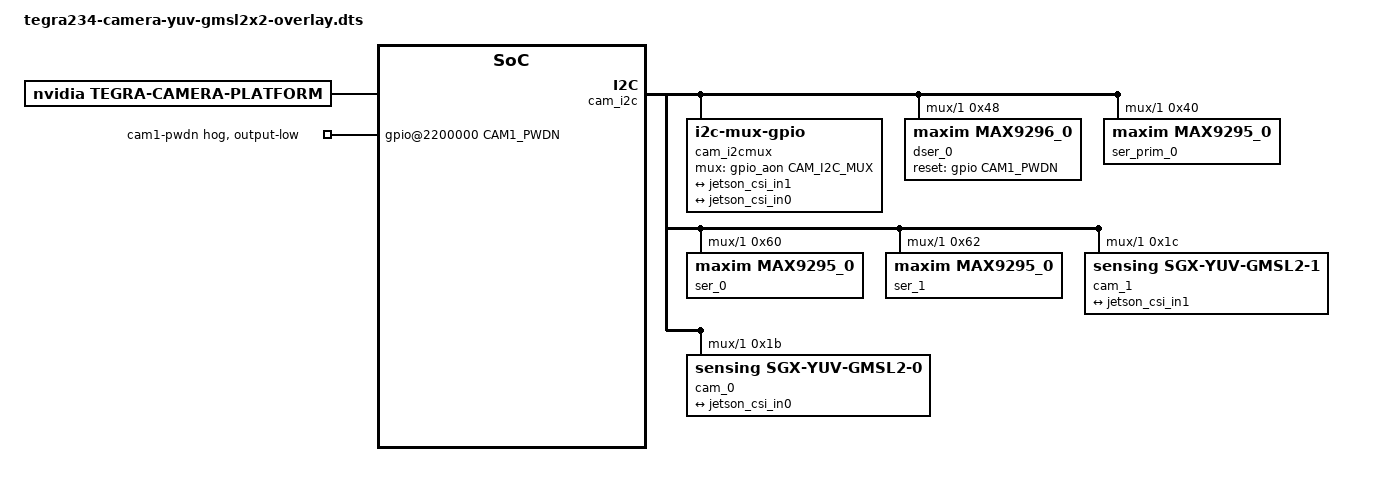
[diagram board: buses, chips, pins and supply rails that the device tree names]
// SPDX-License-Identifier: GPL-2.0-only
// SPDX-FileCopyrightText: Copyright (c) 2023, NVIDIA CORPORATION & AFFILIATES. All rights reserved.

/dts-v1/;
/plugin/;

#include <dt-bindings/tegra234-p3767-0000-common.h>
#include <dt-bindings/clock/tegra234-clock.h>


// #define CAM0_PWDN		TEGRA234_MAIN_GPIO(H, 6)
#define CAM1_PWDN		TEGRA234_MAIN_GPIO(AC, 0)
#define CAM_I2C_MUX		TEGRA234_AON_GPIO(CC, 3)

/* camera control gpio definitions */
/ {
	overlay-name = "Sensing camera YUV GMSL2X2";
	jetson-header-name = "Jetson 24pin CSI Connector";
	compatible = JETSON_COMPATIBLE_P3768;

	fragment@0 {
		target-path = "/";
		__overlay__ {
			tegra-capture-vi  {
				num-channels = <2>;
				ports {
					#address-cells = <1>;
					#size-cells = <0>;
					port@0 {
						reg = <0>;
						jetson_vi_in0: endpoint {
							vc-id = <0>;
							port-index = <2>;
							bus-width = <4>;
							remote-endpoint = <&jetson_csi_out0>;
						};
					};
					port@1 {
						reg = <1>;
						jetson_vi_in1: endpoint {
							vc-id = <1>;
							port-index = <2>;
							bus-width = <4>;
							remote-endpoint = <&jetson_csi_out1>;
						};
					};
				};
			};

			tegra-camera-platform {
				compatible = "nvidia, tegra-camera-platform";

				/**
				* Physical settings to calculate max ISO BW
				*
				* num_csi_lanes = <>;
				* Total number of CSI lanes when all cameras are active
				*
				* max_lane_speed = <>;
				* Max lane speed in Kbit/s
				*
				* min_bits_per_pixel = <>;
				* Min bits per pixel
				*
				* vi_peak_byte_per_pixel = <>;
				* Max byte per pixel for the VI ISO case
				*
				* vi_bw_margin_pct = <>;
				* Vi bandwidth margin in percentage
				*
				* max_pixel_rate = <>;
				* Max pixel rate in Kpixel/s for the ISP ISO case
				*
				* isp_peak_byte_per_pixel = <>;
				* Max byte per pixel for the ISP ISO case
				*
				* isp_bw_margin_pct = <>;
				* Isp bandwidth margin in percentage
				*/
				num_csi_lanes = <8>;
				max_lane_speed = <2500000>;
				min_bits_per_pixel = <10>;
				vi_peak_byte_per_pixel = <2>;
				vi_bw_margin_pct = <25>;
				max_pixel_rate = <7500000>;
				isp_peak_byte_per_pixel = <5>;
				isp_bw_margin_pct = <25>;

				/**
				* The general guideline for naming badge_info contains 3 parts, and is as follows,
				* The first part is the camera_board_id for the module; if the module is in a FFD
				* platform, then use the platform name for this part.
				* The second part contains the position of the module, ex. "rear" or "front".
				* The third part contains the last 6 characters of a part number which is found
				* in the module's specsheet from the vendor.
				*/
				modules {
					module0 {
						badge = "cam0_position";
						position = "position";
						orientation = "1";
						drivernode0 {
							pcl_id = "v4l2_sensor";
							devname = "sgx-yuv-gmsl2 9-001b";
							proc-device-tree = "/proc/device-tree/cam_i2cmux/i2c@0/cam_0@1b";
						};
					};
					module1 {
						badge = "cam1_position";
						position = "position";
						orientation = "1";
						drivernode0 {
							pcl_id = "v4l2_sensor";
							devname = "sgx-yuv-gmsl2 9-001c";
							proc-device-tree = "/proc/device-tree/cam_i2cmux/i2c@0/cam_1@1c";
						};
					};
				};
			};

			bus@0 {
				gpio@2200000 {
					camera-control-output-low {
						gpio-hog;
						output-low;
						gpios = <CAM1_PWDN 0>;
						label = "cam1-pwdn";
					};
				};

				host1x@13e00000 {
					nvcsi@15a00000 {
						num-channels = <2>;
						#address-cells = <1>;
						#size-cells = <0>;
						channel@0 {
							reg = <0>;
							ports {
								#address-cells = <1>;
								#size-cells = <0>;
								port@0 {
									reg = <0>;
									jetson_csi_in0: endpoint@0 {
										port-index = <2>;
										bus-width = <4>;
										remote-endpoint = <&mipi_cam_out0>;
									};
								};
								port@1 {
									reg = <1>;
									jetson_csi_out0: endpoint@1 {
										remote-endpoint = <&jetson_vi_in0>;
									};
								};
							};
						};
						channel@1 {
							reg = <1>;
							ports {
								#address-cells = <1>;
								#size-cells = <0>;
								port@0 {
									reg = <0>;
									jetson_csi_in1: endpoint@2 {
										port-index = <2>;
										bus-width = <4>;
										remote-endpoint = <&mipi_cam_out1>;
									};
								};
								port@1 {
									reg = <1>;
									jetson_csi_out1: endpoint@3 {
										remote-endpoint = <&jetson_vi_in1>;
									};
								};
							};
						};
					};
				};

				cam_i2cmux {
					compatible = "i2c-mux-gpio";
					#address-cells = <1>;
					#size-cells = <0>;
					mux-gpios = <&gpio_aon CAM_I2C_MUX GPIO_ACTIVE_HIGH>;
					i2c-parent = <&cam_i2c>;

					i2c@1 {
						reg = <1>;
						#address-cells = <1>;
						#size-cells = <0>;
						dser_0: max9296_0@48 {
							compatible = "maxim,max9296_0";
							reg = <0x48>;
							csi-mode = "2x4";
							max-src = <2>;
							reset-gpios = <&gpio CAM1_PWDN GPIO_ACTIVE_HIGH>;
						};
						ser_prim_0: max9295_prim_0@40{
							compatible = "maxim,max9295_0";
							reg = <0x40>;
							is-prim-ser;
						};
						ser_0: max9295_0@60 {
							compatible = "maxim,max9295_0";
							reg = <0x60>;
							sensing,gmsl-dser-device = <&dser_0>;
						};
						ser_1: max9295_1@62 {
							compatible = "maxim,max9295_0";
							reg = <0x62>;
							sensing,gmsl-dser-device = <&dser_0>;
						};
						cam_1@1c {
							compatible = "sensing,sgx-yuv-gmsl2-1";
							reg = <0x1c>;
							def-addr = <0x10>;
							devnode = "video1";

							/* Physical dimensions of sensor */
							physical_w = "15.0";
							physical_h = "12.5";

							sensor_model ="sgx-yuv-gmsl2";

							/* Define any required hw resources needed by driver */
							/* ie. clocks, io pins, power sources */
							clocks = <&bpmp TEGRA234_CLK_EXTPERIPH1>,
									<&bpmp TEGRA234_CLK_EXTPERIPH1>;
							clock-names = "extperiph1", "pllp_grtba";
							mclk = "extperiph1";
							sensing,gmsl-ser-device = <&ser_1>;
							sensing,gmsl-dser-device = <&dser_0>;

							/* Defines number of frames to be dropped by driver internally after applying */
							/* sensor crop settings. Some sensors send corrupt frames after applying */
							/* crop co-ordinates */
							post_crop_frame_drop = "0";

							/* Convert Gain to unit of dB (decibel) befor passing to kernel driver */
							use_decibel_gain = "false";

							/* enable CID_SENSOR_MODE_ID for sensor modes selection */
							use_sensor_mode_id = "true";

							mode0 {/*mode SENSOR_MODE_1920X1080_CROP_30FPS*/
								mclk_khz = "24000";
								num_lanes = "4";
								tegra_sinterface = "serial_c";
								vc_id = "1";
								discontinuous_clk = "no";
								dpcm_enable = "false";
								cil_settletime = "0";
								dynamic_pixel_bit_depth = "16";
								csi_pixel_bit_depth = "16";
								mode_type = "yuv";
								pixel_phase = "uyvy";
								
								active_w = "1920";
								active_h = "1080";
								readout_orientation = "0";
								line_length = "2200";
								inherent_gain = "1";
								pix_clk_hz = "150000000";
								serdes_pix_clk_hz = "600000000";
								gain_factor = "1000";
								min_gain_val = "1"; /* dB */
								max_gain_val = "30000"; /* dB */
								step_gain_val = "300"; /* 0.3 */
								default_gain = "1";
								min_hdr_ratio = "1";
								max_hdr_ratio = "1";
								framerate_factor = "1000000";
								min_framerate = "30000000";
								max_framerate = "30000000";
								step_framerate = "1";
								default_framerate = "30000000";
								exposure_factor = "1000000";
								min_exp_time = "59"; /*us, 2 lines*/
								max_exp_time = "33333";
								step_exp_time = "1";
								default_exp_time = "33333";/* us */
								embedded_metadata_height = "0";
							};
							mode1 {//sg2-gmsl2-gw5xxx(1920*1536)
								mclk_khz = "24000";
								num_lanes = "4";
								tegra_sinterface = "serial_c";
								vc_id = "1";
								discontinuous_clk = "no";
								dpcm_enable = "false";
								cil_settletime = "0";
								dynamic_pixel_bit_depth = "16";
								csi_pixel_bit_depth = "16";
								mode_type = "yuv";
								pixel_phase = "uyvy";
								
								active_w = "1920";
								active_h = "1536";
								readout_orientation = "0";
								line_length = "2200";
								inherent_gain = "1";
								pix_clk_hz = "200000000";
								serdes_pix_clk_hz = "600000000";

								gain_factor = "1000";
								min_gain_val = "1"; /* dB */
								max_gain_val = "30000"; /* dB */
								step_gain_val = "300"; /* 0.3 */
								default_gain = "1";
								min_hdr_ratio = "1";
								max_hdr_ratio = "1";
								framerate_factor = "1000000";
								min_framerate = "30000000";
								max_framerate = "30000000";
								step_framerate = "1";
								default_framerate = "30000000";
								exposure_factor = "1000000";
								min_exp_time = "59"; /*us, 2 lines*/
								max_exp_time = "33333";
								step_exp_time = "1";
								default_exp_time = "33333";/* us */
								embedded_metadata_height = "0";
							};
							mode2 {//sg2-gmsl2-gw5xxx(2880*1860)
								mclk_khz = "24000";
								num_lanes = "4";
								tegra_sinterface = "serial_c";
								vc_id = "1";
								discontinuous_clk = "no";
								dpcm_enable = "false";
								cil_settletime = "0";
								dynamic_pixel_bit_depth = "16";
								csi_pixel_bit_depth = "16";
								mode_type = "yuv";
								pixel_phase = "uyvy";
							
								active_w = "2880";
								active_h = "1860";
								readout_orientation = "0";
								line_length = "3200";
								inherent_gain = "1";
								pix_clk_hz = "300000000";
								serdes_pix_clk_hz = "600000000";

								gain_factor = "1000";
								min_gain_val = "1"; /* dB */
								max_gain_val = "30000"; /* dB */
								step_gain_val = "300"; /* 0.3 */
								default_gain = "1";
								min_hdr_ratio = "1";
								max_hdr_ratio = "1";
								framerate_factor = "1000000";
								min_framerate = "30000000";
								max_framerate = "30000000";
								step_framerate = "1";
								default_framerate = "30000000";
								exposure_factor = "1000000";
								min_exp_time = "59"; /*us, 2 lines*/
								max_exp_time = "33333";
								step_exp_time = "1";
								default_exp_time = "33333";/* us */
								embedded_metadata_height = "0";
							};
							mode3 {//sg2-gmsl2-gw5xxx(3840*2160)
								mclk_khz = "24000";
								num_lanes = "4";
								tegra_sinterface = "serial_c";
								vc_id = "1";
								discontinuous_clk = "no";
								dpcm_enable = "false";
								cil_settletime = "0";
								dynamic_pixel_bit_depth = "16";
								csi_pixel_bit_depth = "16";
								mode_type = "yuv";
								pixel_phase = "uyvy";
								//
								active_w = "3840";
								active_h = "2160";
								readout_orientation = "0";
								line_length = "4200";
								inherent_gain = "1";
								pix_clk_hz = "320000000";
								serdes_pix_clk_hz = "600000000";

								gain_factor = "1000";
								min_gain_val = "1"; /* dB */
								max_gain_val = "30000"; /* dB */
								step_gain_val = "300"; /* 0.3 */
								default_gain = "1";
								min_hdr_ratio = "1";
								max_hdr_ratio = "1";
								framerate_factor = "1000000";
								min_framerate = "30000000";
								max_framerate = "30000000";
								step_framerate = "1";
								default_framerate = "30000000";
								exposure_factor = "1000000";
								min_exp_time = "59"; /*us, 2 lines*/
								max_exp_time = "33333";
								step_exp_time = "1";
								default_exp_time = "33333";/* us */
								embedded_metadata_height = "0";
							};
							ports {
								#address-cells = <1>;
								#size-cells = <0>;

								port@0 {
									reg = <0>;
									mipi_cam_out1: endpoint {
										vc-id = <1>;
										port-index = <0>;
										bus-width = <4>;
										remote-endpoint = <&jetson_csi_in1>;
									};
								};
							};	
							gmsl-link {
								src-csi-port = "b";
								dst-csi-port = "a";
								serdes-csi-link = "b";
								csi-mode = "1x4";
								st-vc = <0>;
								vc-id = <1>;
								num-lanes = <4>;
								streams = "ued-u1", "yuv16";
							};
						};
						cam_0@1b {
							compatible = "sensing,sgx-yuv-gmsl2-0";
							reg = <0x1b>;
							def-addr = <0x10>;
							devnode = "video0";

							/* Physical dimensions of sensor */
							physical_w = "15.0";
							physical_h = "12.5";

							sensor_model ="sgx-yuv-gmsl2";

							/* Define any required hw resources needed by driver */
							/* ie. clocks, io pins, power sources */
							clocks = <&bpmp TEGRA234_CLK_EXTPERIPH1>,
									<&bpmp TEGRA234_CLK_EXTPERIPH1>;
							clock-names = "extperiph1", "pllp_grtba";
							mclk = "extperiph1";
							sensing,gmsl-ser-device = <&ser_0>;
							sensing,gmsl-dser-device = <&dser_0>;

							/* Defines number of frames to be dropped by driver internally after applying */
							/* sensor crop settings. Some sensors send corrupt frames after applying */
							/* crop co-ordinates */
							post_crop_frame_drop = "0";

							/* Convert Gain to unit of dB (decibel) befor passing to kernel driver */
							use_decibel_gain = "false";

							/* enable CID_SENSOR_MODE_ID for sensor modes selection */
							use_sensor_mode_id = "true";

							mode0 {/*mode SENSOR_MODE_1920X1080_CROP_30FPS*/
								mclk_khz = "24000";
								num_lanes = "4";
								tegra_sinterface = "serial_c";
								vc_id = "0";
								discontinuous_clk = "no";
								dpcm_enable = "false";
								cil_settletime = "0";
								dynamic_pixel_bit_depth = "16";
								csi_pixel_bit_depth = "16";
								mode_type = "yuv";
								pixel_phase = "uyvy";
								
								active_w = "1920";
								active_h = "1080";
								readout_orientation = "0";
								line_length = "2200";
								inherent_gain = "1";
								pix_clk_hz = "150000000";
								serdes_pix_clk_hz = "600000000";
								gain_factor = "1000";
								min_gain_val = "1"; /* dB */
								max_gain_val = "30000"; /* dB */
								step_gain_val = "300"; /* 0.3 */
								default_gain = "1";
								min_hdr_ratio = "1";
								max_hdr_ratio = "1";
								framerate_factor = "1000000";
								min_framerate = "30000000";
								max_framerate = "30000000";
								step_framerate = "1";
								default_framerate = "30000000";
								exposure_factor = "1000000";
								min_exp_time = "59"; /*us, 2 lines*/
								max_exp_time = "33333";
								step_exp_time = "1";
								default_exp_time = "33333";/* us */
								embedded_metadata_height = "0";
							};
							mode1 {//sg2-gmsl2-gw5xxx(1920*1536)
								mclk_khz = "24000";
								num_lanes = "4";
								tegra_sinterface = "serial_c";
								vc_id = "0";
								discontinuous_clk = "no";
								dpcm_enable = "false";
								cil_settletime = "0";
								dynamic_pixel_bit_depth = "16";
								csi_pixel_bit_depth = "16";
								mode_type = "yuv";
								pixel_phase = "uyvy";
								
								active_w = "1920";
								active_h = "1536";
								readout_orientation = "0";
								line_length = "2200";
								inherent_gain = "1";
								pix_clk_hz = "200000000";
								serdes_pix_clk_hz = "600000000";

								gain_factor = "1000";
								min_gain_val = "1"; /* dB */
								max_gain_val = "30000"; /* dB */
								step_gain_val = "300"; /* 0.3 */
								default_gain = "1";
								min_hdr_ratio = "1";
								max_hdr_ratio = "1";
								framerate_factor = "1000000";
								min_framerate = "30000000";
								max_framerate = "30000000";
								step_framerate = "1";
								default_framerate = "30000000";
								exposure_factor = "1000000";
								min_exp_time = "59"; /*us, 2 lines*/
								max_exp_time = "33333";
								step_exp_time = "1";
								default_exp_time = "33333";/* us */
								embedded_metadata_height = "0";
							};
							mode2 {//sg2-gmsl2-gw5xxx(2880*1860)
								mclk_khz = "24000";
								num_lanes = "4";
								tegra_sinterface = "serial_c";
								vc_id = "0";
								discontinuous_clk = "no";
								dpcm_enable = "false";
								cil_settletime = "0";
								dynamic_pixel_bit_depth = "16";
								csi_pixel_bit_depth = "16";
								mode_type = "yuv";
								pixel_phase = "uyvy";
							
								active_w = "2880";
								active_h = "1860";
								readout_orientation = "0";
								line_length = "3200";
								inherent_gain = "1";
								pix_clk_hz = "300000000";
								serdes_pix_clk_hz = "600000000";

								gain_factor = "1000";
								min_gain_val = "1"; /* dB */
								max_gain_val = "30000"; /* dB */
								step_gain_val = "300"; /* 0.3 */
								default_gain = "1";
								min_hdr_ratio = "1";
								max_hdr_ratio = "1";
								framerate_factor = "1000000";
								min_framerate = "30000000";
								max_framerate = "30000000";
								step_framerate = "1";
								default_framerate = "30000000";
								exposure_factor = "1000000";
								min_exp_time = "59"; /*us, 2 lines*/
								max_exp_time = "33333";
								step_exp_time = "1";
								default_exp_time = "33333";/* us */
								embedded_metadata_height = "0";
							};
							mode3 {//sg2-gmsl2-gw5xxx(3840*2160)
								mclk_khz = "24000";
								num_lanes = "4";
								tegra_sinterface = "serial_c";
								vc_id = "0";
								discontinuous_clk = "no";
								dpcm_enable = "false";
								cil_settletime = "0";
								dynamic_pixel_bit_depth = "16";
								csi_pixel_bit_depth = "16";
								mode_type = "yuv";
								pixel_phase = "uyvy";
								//
								active_w = "3840";
								active_h = "2160";
								readout_orientation = "0";
								line_length = "4200";
								inherent_gain = "1";
								pix_clk_hz = "320000000";
								serdes_pix_clk_hz = "600000000";

								gain_factor = "1000";
								min_gain_val = "1"; /* dB */
								max_gain_val = "30000"; /* dB */
								step_gain_val = "300"; /* 0.3 */
								default_gain = "1";
								min_hdr_ratio = "1";
								max_hdr_ratio = "1";
								framerate_factor = "1000000";
								min_framerate = "30000000";
								max_framerate = "30000000";
								step_framerate = "1";
								default_framerate = "30000000";
								exposure_factor = "1000000";
								min_exp_time = "59"; /*us, 2 lines*/
								max_exp_time = "33333";
								step_exp_time = "1";
								default_exp_time = "33333";/* us */
								embedded_metadata_height = "0";
							};
							ports {
								#address-cells = <1>;
								#size-cells = <0>;

								port@0 {
									reg = <0>;
									mipi_cam_out0: endpoint {
										vc-id = <0>;
										port-index = <0>;
										bus-width = <4>;
										remote-endpoint = <&jetson_csi_in0>;
									};
								};
							};	
							gmsl-link {
								src-csi-port = "b";
								dst-csi-port = "a";
								serdes-csi-link = "a";
								csi-mode = "1x4";
								st-vc = <0>;
								vc-id = <0>;
								num-lanes = <4>;
								streams = "ued-u1", "yuv16";
							};
						};
					};
				};
			};
		};
	};
};
